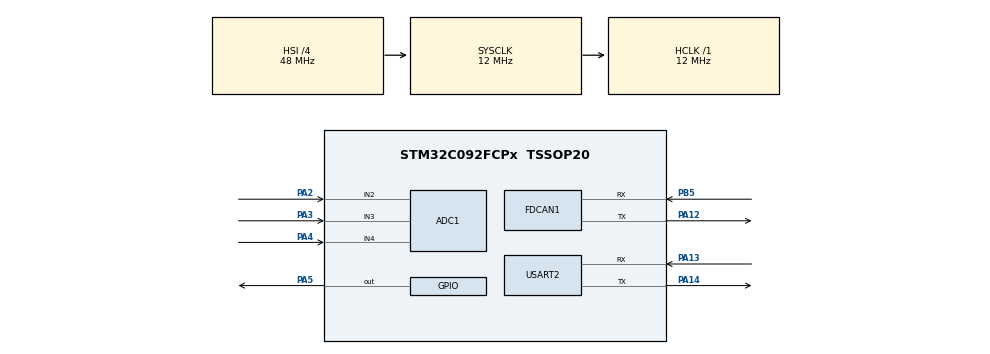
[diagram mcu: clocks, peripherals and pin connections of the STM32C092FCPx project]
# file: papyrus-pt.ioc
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ADC1.ClockPrescaler=ADC_CLOCK_SYNC_PCLK_DIV4
ADC1.ContinuousConvMode=DISABLE
ADC1.DMAContinuousRequests=ENABLE
ADC1.EOCSelection=ADC_EOC_SEQ_CONV
ADC1.ExternalTrigConv=ADC_EXTERNALTRIG_T2_TRGO
ADC1.NbrOfConversionFlag=0
ADC1.Overrun=ADC_OVR_DATA_OVERWRITTEN
ADC1.SamplingTimeCommon1=ADC_SAMPLETIME_79CYCLES_5
ADC1.ScanConvMode=ADC_SCAN_SEQ_FIXED
ADC1.SelectedChannel=ADC_CHANNEL_2|ADC_CHANNEL_3|ADC_CHANNEL_4|ADC_CHANNEL_VREFINT
ADC1.master=1
Dma.ADC1.0.Direction=DMA_PERIPH_TO_MEMORY
Dma.ADC1.0.EventEnable=DISABLE
Dma.ADC1.0.Instance=DMA1_Channel1
Dma.ADC1.0.MemDataAlignment=DMA_MDATAALIGN_HALFWORD
Dma.ADC1.0.MemInc=DMA_MINC_ENABLE
Dma.ADC1.0.Mode=DMA_CIRCULAR
Dma.ADC1.0.PeriphDataAlignment=DMA_PDATAALIGN_HALFWORD
Dma.ADC1.0.PeriphInc=DMA_PINC_DISABLE
Dma.ADC1.0.Polarity=HAL_DMAMUX_REQ_GEN_RISING
Dma.ADC1.0.Priority=DMA_PRIORITY_LOW
Dma.ADC1.0.RequestNumber=1
Dma.ADC1.0.SignalID=NONE
Dma.ADC1.0.SyncEnable=DISABLE
Dma.ADC1.0.SyncPolarity=HAL_DMAMUX_SYNC_NO_EVENT
Dma.ADC1.0.SyncRequestNumber=1
Dma.ADC1.0.SyncSignalID=NONE
Dma.Request0=ADC1
FDCAN1.AutoRetransmission=ENABLE
FDCAN1.CalculateBaudRateNominal=250000
FDCAN1.CalculateTimeBitNominal=4000
FDCAN1.CalculateTimeQuantumNominal=250.0
FDCAN1.NominalPrescaler=4
FDCAN1.NominalTimeSeg1=13
FDCAN1.NominalTimeSeg2=2
FDCAN1.StdFiltersNbr=1
Mcu.Family=STM32C0
Mcu.Name=STM32C092FCPx
Mcu.Package=TSSOP20
NVIC.DMA1_Channel1_IRQn=true\:0\:0\:false\:false\:true\:false\:true\:true
PA12\ [PA10].Mode=FDCAN_Activate
PA12\ [PA10].Signal=FDCAN1_TX
PA13.Mode=Asynchronous
PA13.Signal=USART2_RX
PA14-BOOT0.Mode=Asynchronous
PA14-BOOT0.Signal=USART2_TX
PA14-BOOT0__PA15.StandardMode=true
PA2.Signal=SharedAnalog_PA2
PA3.Signal=SharedAnalog_PA3
PA4.Signal=SharedAnalog_PA4
PA5.PinState=GPIO_PIN_SET
PA5.Signal=GPIO_Output
PB0__PB1__PB2__PA8.StandardMode=true
PB3__PB4__PB5__PB6.StandardMode=true
PB5.Mode=FDCAN_Activate
PB5.Signal=FDCAN1_RX
PB7__PB8.StandardMode=true
ProjectManager.HeapSize=0x200
ProjectManager.StackSize=0x400
ProjectManager.TargetToolchain=Makefile
RCC.ADCFreq_Value=12000000
RCC.AHBFreq_Value=12000000
RCC.CortexFreq_Value=12000000
RCC.EXTERNAL_CLOCK_VALUE=12288000
RCC.FDCAN1CLockSelection=RCC_FDCAN1CLKSOURCE_HSIKER
RCC.HCLKFreq_Value=12000000
RCC.HSE_VALUE=8000000
RCC.HSI_VALUE=48000000
RCC.LSE_VALUE=32768
RCC.SYSCLKFreq_VALUE=12000000
SH.SharedAnalog_PA2.0=GPIO_Analog
SH.SharedAnalog_PA2.1=ADC1_IN2,IN2
SH.SharedAnalog_PA3.0=GPIO_Analog
SH.SharedAnalog_PA3.1=ADC1_IN3,IN3
SH.SharedAnalog_PA4.0=GPIO_Analog
SH.SharedAnalog_PA4.1=ADC1_IN4,IN4
TIM2.AutoReloadPreload=TIM_AUTORELOAD_PRELOAD_ENABLE
TIM2.Period=49999
TIM2.Prescaler=25
TIM2.TIM_MasterOutputTrigger=TIM_TRGO_UPDATE
USART2.VirtualMode-Asynchronous=VM_ASYNC
VP_ADC1_Vref_Input.Mode=IN-Vrefint
VP_TIM2_VS_ClockSourceITR.Mode=TriggerSource_ITR0
board=custom

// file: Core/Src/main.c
/* USER CODE BEGIN Header */
/**
  ******************************************************************************
  * @file           : main.c
  * @brief          : Main program body
  ******************************************************************************
  * @attention
  *
  * Copyright (c) 2026 STMicroelectronics.
  * All rights reserved.
  *
  * This software is licensed under terms that can be found in the LICENSE file
  * in the root directory of this software component.
  * If no LICENSE file comes with this software, it is provided AS-IS.
  *
  ******************************************************************************
  */
/* USER CODE END Header */
#include "main.h"

/* USER CODE BEGIN Includes */
#include <string.h>
#include <stdio.h>
/* USER CODE END Includes */

/* USER CODE BEGIN PTD */
#define CAN_CMD_ID 401
/* USER CODE END PTD */

ADC_HandleTypeDef hadc1;
DMA_HandleTypeDef hdma_adc1;

FDCAN_HandleTypeDef hfdcan1;

TIM_HandleTypeDef htim2;

UART_HandleTypeDef huart2;

void SystemClock_Config(void);
static void MX_GPIO_Init(void);
static void MX_DMA_Init(void);
static void MX_ADC1_Init(void);
static void MX_FDCAN1_Init(void);
static void MX_TIM2_Init(void);
static void MX_USART2_UART_Init(void);

/* USER CODE BEGIN 0 */
void CAN_SendAck(uint8_t *data, uint8_t len)
{
  FDCAN_TxHeaderTypeDef txHeader = {0};

  txHeader.Identifier = CAN_CMD_ID;
  txHeader.IdType = FDCAN_STANDARD_ID;
  txHeader.TxFrameType = FDCAN_DATA_FRAME;
  txHeader.DataLength = len;
  txHeader.ErrorStateIndicator = FDCAN_ESI_ACTIVE;
  txHeader.BitRateSwitch = FDCAN_BRS_OFF;
  txHeader.FDFormat = FDCAN_CLASSIC_CAN;
  txHeader.TxEventFifoControl = FDCAN_NO_TX_EVENTS;
  txHeader.MessageMarker = 0;

  while (HAL_FDCAN_GetTxFifoFreeLevel(&hfdcan1) == 0);
  HAL_FDCAN_AddMessageToTxFifoQ(&hfdcan1, &txHeader, data);
}
uint16_t ADC_Read_VREFINT(void)
{
  ADC_ChannelConfTypeDef sConfig = {0};

  sConfig.Channel = ADC_CHANNEL_VREFINT;
  sConfig.Rank = ADC_REGULAR_RANK_1;
  sConfig.SamplingTime = ADC_SAMPLINGTIME_COMMON_1;

  HAL_ADC_ConfigChannel(&hadc1, &sConfig);

  HAL_ADC_Start(&hadc1);
  HAL_ADC_PollForConversion(&hadc1, HAL_MAX_DELAY);
  HAL_ADC_GetValue(&hadc1);

  HAL_ADC_Start(&hadc1);
  HAL_ADC_PollForConversion(&hadc1, HAL_MAX_DELAY);
  uint16_t raw = HAL_ADC_GetValue(&hadc1);
  HAL_ADC_Stop(&hadc1);

  return raw;
}
uint32_t ADC_Get_VDDA_mV(void)
{
  // uint32_t vrefint_raw = ADC_Read_VREFINT();
  // uint32_t vrefint_cal = *VREFINT_CAL_ADDR;
  //
  // // VDDA = 3.0V * VREFINT_CAL / VREFINT_DATA
  // // 3000 mV is the calibration reference voltage
  // uint32_t vdda = 3000UL * vrefint_cal / vrefint_raw;
  return 3300UL;

  // return vdda;
}
uint16_t ADC_Read_PressureRaw1(void)
{
  HAL_ADC_Stop(&hadc1);
  ADC_ChannelConfTypeDef sConfig = {0};

  sConfig.Channel = ADC_CHANNEL_2;   // ADC1_IN2
  sConfig.Rank = ADC_REGULAR_RANK_1;
  sConfig.SamplingTime = ADC_SAMPLINGTIME_COMMON_1;

  HAL_ADC_ConfigChannel(&hadc1, &sConfig);

  HAL_ADC_Start(&hadc1);
  HAL_ADC_PollForConversion(&hadc1, HAL_MAX_DELAY);
  HAL_ADC_GetValue(&hadc1);

  HAL_ADC_Start(&hadc1);
  HAL_ADC_PollForConversion(&hadc1, HAL_MAX_DELAY);
  uint16_t raw = HAL_ADC_GetValue(&hadc1);
  HAL_ADC_Stop(&hadc1);

  return raw;
}
uint16_t ADC_Read_PressureRaw2(void)
{
  HAL_ADC_Stop(&hadc1);
  ADC_ChannelConfTypeDef sConfig = {0};

  sConfig.Channel = ADC_CHANNEL_3;   // ADC1_IN2
  sConfig.Rank = ADC_REGULAR_RANK_1;
  sConfig.SamplingTime = ADC_SAMPLINGTIME_COMMON_1;

  HAL_ADC_ConfigChannel(&hadc1, &sConfig);

  HAL_ADC_Start(&hadc1);
  HAL_ADC_PollForConversion(&hadc1, HAL_MAX_DELAY);
  HAL_ADC_GetValue(&hadc1);

  HAL_ADC_Start(&hadc1);
  HAL_ADC_PollForConversion(&hadc1, HAL_MAX_DELAY);
  uint16_t raw = HAL_ADC_GetValue(&hadc1);
  HAL_ADC_Stop(&hadc1);

  return raw;
}

uint16_t Pressure_Read_mV1(void)
{
  uint32_t adc = ADC_Read_PressureRaw1();
  uint32_t vdda_mV = ADC_Get_VDDA_mV();

  // Convert ADC → voltage (mV)
  int16_t voltage_mV = (adc * (int32_t)vdda_mV) / 4095;
  return voltage_mV;
}
uint16_t Pressure_Read_mV2(void)
{
  uint32_t adc = ADC_Read_PressureRaw2();
  uint32_t vdda_mV = ADC_Get_VDDA_mV();

  // Convert ADC → voltage (mV)
  int16_t voltage_mV = (adc * (int32_t)vdda_mV) / 4095;
  return voltage_mV;
}

static uint32_t ADC1_ReadChannel(uint32_t channel)
{
  ADC_ChannelConfTypeDef sConfig = {0};

  sConfig.Channel = channel;
  sConfig.Rank = ADC_REGULAR_RANK_1;
  sConfig.SamplingTime = ADC_SAMPLETIME_160CYCLES_5; // long enough for VREFINT
  // sConfig.SingleDiff = ADC_SINGLE_ENDED;
  // sConfig.OffsetNumber = ADC_OFFSET_NONE;
  // sConfig.Offset = 0;

  HAL_ADC_ConfigChannel(&hadc1, &sConfig);

  HAL_ADC_Start(&hadc1);
  HAL_ADC_PollForConversion(&hadc1, HAL_MAX_DELAY);
  uint32_t value = HAL_ADC_GetValue(&hadc1);
  HAL_ADC_Stop(&hadc1);

  return value;
}
static uint32_t ADC1_GetVDDA_mV(void)
{
  uint32_t vrefint_raw = ADC1_ReadChannel(ADC_CHANNEL_VREFINT);
  uint32_t vrefint_cal = *VREFINT_CAL_ADDR;

  if (vrefint_raw == 0) return 0;

  return (3000U  * (uint32_t)vrefint_cal) / vrefint_raw;
}

uint32_t ADC1_ReadInput_mV(uint8_t input)
{
  uint32_t channel;

  if (input == 2) {
    channel = ADC_CHANNEL_2;   // ADC1_IN2
  } else if (input == 3) {
      channel = ADC_CHANNEL_3;   // ADC1_IN3
  } else {
        return 0;                  // invalid selection
  }

        uint32_t vdda = ADC1_GetVDDA_mV();
      uint32_t raw = ADC1_ReadChannel(channel);

    return (raw * vdda) / 4095U;
}
uint16_t adc_raw[4];
uint16_t vref_mV;
uint16_t ch2_mV;
uint16_t ch3_mV;
uint16_t ch4_mV;
void HAL_ADC_ConvCpltCallback(ADC_HandleTypeDef* hadc)
{
  if (hadc->Instance == ADC1)
  {
    uint32_t vref_raw = adc_raw[3];
    uint32_t ch2_raw  = adc_raw[0];
    uint32_t ch3_raw  = adc_raw[1];
    uint32_t ch4_raw  = adc_raw[2];

    uint32_t vrefint_cal = *VREFINT_CAL_ADDR;

    // Compute actual VDD in mV
    vref_mV = (VREFINT_CAL_VREF * vrefint_cal) / vref_raw;

    // Convert channels to mV
    ch2_mV = (ch2_raw * vref_mV) / 4095;
    ch3_mV = (ch3_raw * vref_mV) / 4095;
    ch4_mV = (ch4_raw * vref_mV) / 4095;
  }
}
/* USER CODE END 0 */

int main(void)
{

  /* MCU Configuration--------------------------------------------------------*/

  /* Reset of all peripherals, Initializes the Flash interface and the Systick. */
  HAL_Init();

  /* Configure the system clock */
  SystemClock_Config();

  /* Initialize all configured peripherals */
  MX_GPIO_Init();
  MX_DMA_Init();
  MX_ADC1_Init();
  MX_FDCAN1_Init();
  MX_TIM2_Init();
  MX_USART2_UART_Init();
  /* USER CODE BEGIN 2 */
  HAL_FDCAN_Start(&hfdcan1);
  HAL_ADCEx_Calibration_Start(&hadc1);
  HAL_ADC_Start_DMA(&hadc1, (uint32_t*)adc_raw, 4);
  HAL_TIM_Base_Start(&htim2);

  FDCAN_RxHeaderTypeDef rxHeader;
  uint8_t rxData[8];
  uint8_t txData[8];
  /* USER CODE END 2 */

  /* Infinite loop */
  while (1)
  {

    /* USER CODE BEGIN 3 */
    if (HAL_FDCAN_GetRxFifoFillLevel(&hfdcan1, FDCAN_RX_FIFO0) > 0)
    {
      HAL_FDCAN_GetRxMessage(&hfdcan1, FDCAN_RX_FIFO0, &rxHeader, rxData);

      txData[0] = rxData[0];
      txData[1] = 0x00; // OK

      switch (rxData[0])
      {
        case 0x00:
          txData[1] = 0x04; break;
        case 0x01:
          *(uint16_t*)(txData+1) = (ch2_mV*2500)/1500;
          CAN_SendAck(txData, 3);
          continue;
        case 0x02:
          *(uint16_t*)(txData+1) = (ch3_mV*2500)/1500;
          CAN_SendAck(txData, 3);
          continue;
        case 0x03:
          *(uint16_t*)(txData+1) = (ch4_mV*2500)/1500;
          CAN_SendAck(txData, 3);
          continue;

        case 0xFF:
          CAN_SendAck(txData, 2);
          HAL_Delay(10);
          NVIC_SystemReset();
          break;

        default:
          continue;
      }

      CAN_SendAck(txData, 2);
    }
  }
  /* USER CODE END 3 */
}

void SystemClock_Config(void)
{
  RCC_OscInitTypeDef RCC_OscInitStruct = {0};
  RCC_ClkInitTypeDef RCC_ClkInitStruct = {0};

  __HAL_FLASH_SET_LATENCY(FLASH_LATENCY_0);

  /** Initializes the RCC Oscillators according to the specified parameters
  * in the RCC_OscInitTypeDef structure.
  */
  RCC_OscInitStruct.OscillatorType = RCC_OSCILLATORTYPE_HSI;
  RCC_OscInitStruct.HSIState = RCC_HSI_ON;
  RCC_OscInitStruct.HSIDiv = RCC_HSI_DIV4;
  RCC_OscInitStruct.HSICalibrationValue = RCC_HSICALIBRATION_DEFAULT;
  if (HAL_RCC_OscConfig(&RCC_OscInitStruct) != HAL_OK)
  {
    Error_Handler();
  }

  /** Initializes the CPU, AHB and APB buses clocks
  */
  RCC_ClkInitStruct.ClockType = RCC_CLOCKTYPE_HCLK|RCC_CLOCKTYPE_SYSCLK
                              |RCC_CLOCKTYPE_PCLK1;
  RCC_ClkInitStruct.SYSCLKSource = RCC_SYSCLKSOURCE_HSI;
  RCC_ClkInitStruct.SYSCLKDivider = RCC_SYSCLK_DIV1;
  RCC_ClkInitStruct.AHBCLKDivider = RCC_HCLK_DIV1;
  RCC_ClkInitStruct.APB1CLKDivider = RCC_APB1_DIV1;

  if (HAL_RCC_ClockConfig(&RCC_ClkInitStruct, FLASH_LATENCY_0) != HAL_OK)
  {
    Error_Handler();
  }
}

static void MX_ADC1_Init(void)
{

  ADC_ChannelConfTypeDef sConfig = {0};

  /** Configure the global features of the ADC (Clock, Resolution, Data Alignment and number of conversion)
  */
  hadc1.Instance = ADC1;
  hadc1.Init.ClockPrescaler = ADC_CLOCK_SYNC_PCLK_DIV4;
  hadc1.Init.Resolution = ADC_RESOLUTION_12B;
  hadc1.Init.DataAlign = ADC_DATAALIGN_RIGHT;
  hadc1.Init.ScanConvMode = ADC_SCAN_SEQ_FIXED;
  hadc1.Init.EOCSelection = ADC_EOC_SEQ_CONV;
  hadc1.Init.LowPowerAutoWait = DISABLE;
  hadc1.Init.LowPowerAutoPowerOff = DISABLE;
  hadc1.Init.ContinuousConvMode = DISABLE;
  hadc1.Init.NbrOfConversion = 1;
  hadc1.Init.DiscontinuousConvMode = DISABLE;
  hadc1.Init.ExternalTrigConv = ADC_EXTERNALTRIG_T2_TRGO;
  hadc1.Init.ExternalTrigConvEdge = ADC_EXTERNALTRIGCONVEDGE_RISING;
  hadc1.Init.DMAContinuousRequests = ENABLE;
  hadc1.Init.Overrun = ADC_OVR_DATA_OVERWRITTEN;
  hadc1.Init.SamplingTimeCommon1 = ADC_SAMPLETIME_79CYCLES_5;
  hadc1.Init.OversamplingMode = DISABLE;
  hadc1.Init.TriggerFrequencyMode = ADC_TRIGGER_FREQ_HIGH;
  if (HAL_ADC_Init(&hadc1) != HAL_OK)
  {
    Error_Handler();
  }

  /** Configure Regular Channel
  */
  sConfig.Channel = ADC_CHANNEL_2;
  sConfig.Rank = ADC_RANK_CHANNEL_NUMBER;
  if (HAL_ADC_ConfigChannel(&hadc1, &sConfig) != HAL_OK)
  {
    Error_Handler();
  }

  /** Configure Regular Channel
  */
  sConfig.Channel = ADC_CHANNEL_3;
  if (HAL_ADC_ConfigChannel(&hadc1, &sConfig) != HAL_OK)
  {
    Error_Handler();
  }

  /** Configure Regular Channel
  */
  sConfig.Channel = ADC_CHANNEL_4;
  if (HAL_ADC_ConfigChannel(&hadc1, &sConfig) != HAL_OK)
  {
    Error_Handler();
  }

  /** Configure Regular Channel
  */
  sConfig.Channel = ADC_CHANNEL_VREFINT;
  if (HAL_ADC_ConfigChannel(&hadc1, &sConfig) != HAL_OK)
  {
    Error_Handler();
  }

}

static void MX_FDCAN1_Init(void)
{

  hfdcan1.Instance = FDCAN1;
  hfdcan1.Init.ClockDivider = FDCAN_CLOCK_DIV1;
  hfdcan1.Init.FrameFormat = FDCAN_FRAME_CLASSIC;
  hfdcan1.Init.Mode = FDCAN_MODE_NORMAL;
  hfdcan1.Init.AutoRetransmission = ENABLE;
  hfdcan1.Init.TransmitPause = DISABLE;
  hfdcan1.Init.ProtocolException = DISABLE;
  hfdcan1.Init.NominalPrescaler = 4;
  hfdcan1.Init.NominalSyncJumpWidth = 1;
  hfdcan1.Init.NominalTimeSeg1 = 13;
  hfdcan1.Init.NominalTimeSeg2 = 2;
  hfdcan1.Init.DataPrescaler = 1;
  hfdcan1.Init.DataSyncJumpWidth = 1;
  hfdcan1.Init.DataTimeSeg1 = 1;
  hfdcan1.Init.DataTimeSeg2 = 1;
  hfdcan1.Init.StdFiltersNbr = 1;
  hfdcan1.Init.ExtFiltersNbr = 0;
  hfdcan1.Init.TxFifoQueueMode = FDCAN_TX_FIFO_OPERATION;
  if (HAL_FDCAN_Init(&hfdcan1) != HAL_OK)
  {
    Error_Handler();
  }
  /* USER CODE BEGIN FDCAN1_Init 2 */
  FDCAN_FilterTypeDef filter = {0};
  filter.IdType = FDCAN_STANDARD_ID;
  filter.FilterIndex = 0;
  filter.FilterType = FDCAN_FILTER_DUAL;
  filter.FilterConfig = FDCAN_FILTER_TO_RXFIFO0;
  filter.FilterID1 = CAN_CMD_ID;
  filter.FilterID2 = 0;
  HAL_FDCAN_ConfigFilter(&hfdcan1, &filter);
  HAL_FDCAN_ConfigGlobalFilter(
    &hfdcan1,
    FDCAN_REJECT,  // Non-matching standard frames
    FDCAN_REJECT,  // Non-matching extended frames
    FDCAN_REJECT,  // Reject remote standard frames
    FDCAN_REJECT   // Reject remote extended frames
  );
  /* USER CODE END FDCAN1_Init 2 */

}

static void MX_TIM2_Init(void)
{

  TIM_SlaveConfigTypeDef sSlaveConfig = {0};
  TIM_MasterConfigTypeDef sMasterConfig = {0};

  htim2.Instance = TIM2;
  htim2.Init.Prescaler = 25;
  htim2.Init.CounterMode = TIM_COUNTERMODE_UP;
  htim2.Init.Period = 49999;
  htim2.Init.ClockDivision = TIM_CLOCKDIVISION_DIV1;
  htim2.Init.AutoReloadPreload = TIM_AUTORELOAD_PRELOAD_ENABLE;
  if (HAL_TIM_Base_Init(&htim2) != HAL_OK)
  {
    Error_Handler();
  }
  sSlaveConfig.SlaveMode = TIM_SLAVEMODE_DISABLE;
  sSlaveConfig.InputTrigger = TIM_TS_ITR0;
  if (HAL_TIM_SlaveConfigSynchro(&htim2, &sSlaveConfig) != HAL_OK)
  {
    Error_Handler();
  }
  sMasterConfig.MasterOutputTrigger = TIM_TRGO_UPDATE;
  sMasterConfig.MasterSlaveMode = TIM_MASTERSLAVEMODE_DISABLE;
  if (HAL_TIMEx_MasterConfigSynchronization(&htim2, &sMasterConfig) != HAL_OK)
  {
    Error_Handler();
  }

}

static void MX_USART2_UART_Init(void)
{

  huart2.Instance = USART2;
  huart2.Init.BaudRate = 115200;
  huart2.Init.WordLength = UART_WORDLENGTH_8B;
  huart2.Init.StopBits = UART_STOPBITS_1;
  huart2.Init.Parity = UART_PARITY_NONE;
  huart2.Init.Mode = UART_MODE_TX_RX;
  huart2.Init.HwFlowCtl = UART_HWCONTROL_NONE;
  huart2.Init.OverSampling = UART_OVERSAMPLING_16;
  huart2.Init.OneBitSampling = UART_ONE_BIT_SAMPLE_DISABLE;
  huart2.Init.ClockPrescaler = UART_PRESCALER_DIV1;
  huart2.AdvancedInit.AdvFeatureInit = UART_ADVFEATURE_NO_INIT;
  if (HAL_UART_Init(&huart2) != HAL_OK)
  {
    Error_Handler();
  }

}

static void MX_DMA_Init(void)
{

  /* DMA controller clock enable */
  __HAL_RCC_DMA1_CLK_ENABLE();

  /* DMA interrupt init */
  /* DMA1_Channel1_IRQn interrupt configuration */
  HAL_NVIC_SetPriority(DMA1_Channel1_IRQn, 0, 0);
  HAL_NVIC_EnableIRQ(DMA1_Channel1_IRQn);

}

static void MX_GPIO_Init(void)
{
  GPIO_InitTypeDef GPIO_InitStruct = {0};

  /* GPIO Ports Clock Enable */
  __HAL_RCC_GPIOA_CLK_ENABLE();
  __HAL_RCC_GPIOB_CLK_ENABLE();

  /*Configure GPIO pin Output Level */
  HAL_GPIO_WritePin(GPIOA, GPIO_PIN_5, GPIO_PIN_SET);

  /*Configure GPIO pin : PA5 */
  GPIO_InitStruct.Pin = GPIO_PIN_5;
  GPIO_InitStruct.Mode = GPIO_MODE_OUTPUT_PP;
  GPIO_InitStruct.Pull = GPIO_NOPULL;
  GPIO_InitStruct.Speed = GPIO_SPEED_FREQ_LOW;
  HAL_GPIO_Init(GPIOA, &GPIO_InitStruct);

}

void Error_Handler(void)
{
  __disable_irq();
  while (1)
  {
  }
}
